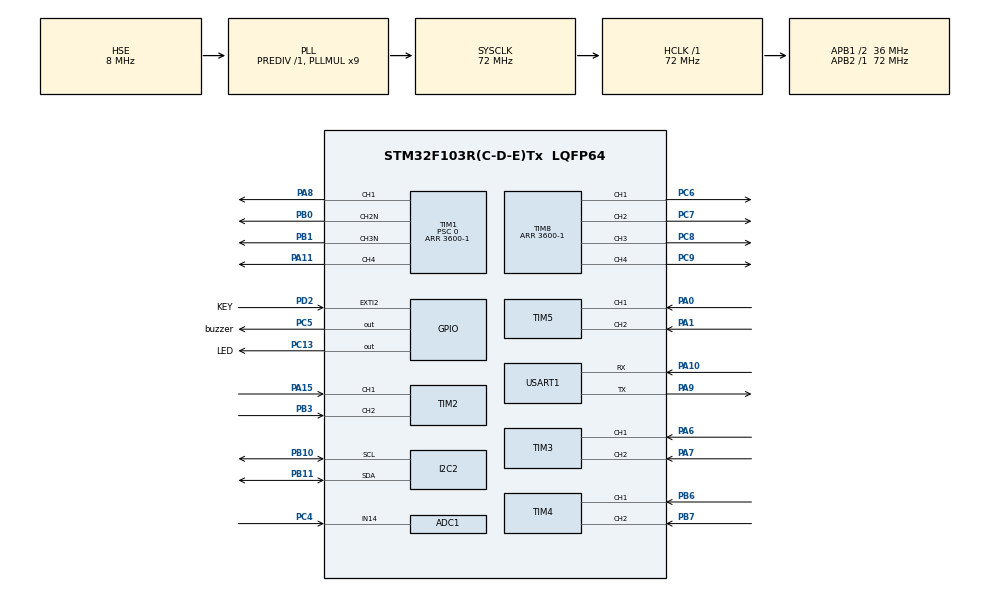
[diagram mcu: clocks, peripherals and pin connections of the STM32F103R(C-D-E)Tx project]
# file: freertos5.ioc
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ADC1.Channel-0\#ChannelRegularConversion=ADC_CHANNEL_14
ADC1.ContinuousConvMode=ENABLE
ADC1.NbrOfConversion=1
ADC1.NbrOfConversionFlag=1
ADC1.Rank-0\#ChannelRegularConversion=1
ADC1.SamplingTime-0\#ChannelRegularConversion=ADC_SAMPLETIME_239CYCLES_5
ADC1.master=1
FREERTOS.Tasks01=defaultTask,24,128,StartDefaultTask,Default,NULL,Dynamic,NULL,NULL
FREERTOS.configUSE_NEWLIB_REENTRANT=1
Mcu.Family=STM32F1
Mcu.Name=STM32F103R(C-D-E)Tx
Mcu.Package=LQFP64
NVIC.EXTI2_IRQn=true\:5\:0\:false\:false\:true\:true\:true\:true\:true
NVIC.PriorityGroup=NVIC_PRIORITYGROUP_4
NVIC.TIM6_IRQn=true\:15\:0\:false\:false\:true\:false\:false\:true\:true
NVIC.TimeBase=TIM6_IRQn
NVIC.TimeBaseIP=TIM6
PA0-WKUP.Signal=S_TIM5_CH1
PA1.Signal=S_TIM5_CH2
PA10.Mode=Asynchronous
PA10.Signal=USART1_RX
PA11.Signal=S_TIM1_CH4
PA13.Mode=Serial_Wire
PA13.Signal=SYS_JTMS-SWDIO
PA14.Mode=Serial_Wire
PA14.Signal=SYS_JTCK-SWCLK
PA15.Signal=S_TIM2_CH1_ETR
PA6.Signal=S_TIM3_CH1
PA7.Signal=S_TIM3_CH2
PA8.Signal=S_TIM1_CH1
PA9.Mode=Asynchronous
PA9.Signal=USART1_TX
PB0.Mode=PWM Generation2 CH2N
PB0.Signal=TIM1_CH2N
PB1.Mode=PWM Generation3 CH3N
PB1.Signal=TIM1_CH3N
PB10.Mode=I2C
PB10.Signal=I2C2_SCL
PB11.Mode=I2C
PB11.Signal=I2C2_SDA
PB3.Signal=S_TIM2_CH2
PB6.Signal=S_TIM4_CH1
PB7.Signal=S_TIM4_CH2
PC13-TAMPER-RTC.GPIO_Label=LED
PC13-TAMPER-RTC.Signal=GPIO_Output
PC4.Signal=ADCx_IN14
PC5.GPIO_Label=buzzer
PC5.GPIO_Speed=GPIO_SPEED_FREQ_LOW
PC5.Signal=GPIO_Output
PC6.Signal=S_TIM8_CH1
PC7.Signal=S_TIM8_CH2
PC8.Signal=S_TIM8_CH3
PC9.Signal=S_TIM8_CH4
PD0-OSC_IN.Mode=HSE-External-Oscillator
PD0-OSC_IN.Signal=RCC_OSC_IN
PD1-OSC_OUT.Mode=HSE-External-Oscillator
PD1-OSC_OUT.Signal=RCC_OSC_OUT
PD2.GPIO_Label=KEY
PD2.GPIO_ModeDefaultEXTI=GPIO_MODE_IT_FALLING
PD2.GPIO_PuPd=GPIO_PULLUP
PD2.Signal=GPXTI2
ProjectManager.HeapSize=0x200
ProjectManager.StackSize=0x400
ProjectManager.TargetToolchain=STM32CubeIDE
RCC.ADCPresc=RCC_ADCPCLK2_DIV6
RCC.AHBFreq_Value=72000000
RCC.APB1CLKDivider=RCC_HCLK_DIV2
RCC.APB1Freq_Value=36000000
RCC.APB1TimFreq_Value=72000000
RCC.APB2Freq_Value=72000000
RCC.APB2TimFreq_Value=72000000
RCC.HCLKFreq_Value=72000000
RCC.PLLMUL=RCC_PLL_MUL9
RCC.PLLSourceVirtual=RCC_PLLSOURCE_HSE
RCC.SYSCLKFreq_VALUE=72000000
RCC.SYSCLKSource=RCC_SYSCLKSOURCE_PLLCLK
RCC.USBFreq_Value=72000000
SH.ADCx_IN14.0=ADC1_IN14,IN14
SH.S_TIM1_CH1.0=TIM1_CH1,PWM Generation1 CH1
SH.S_TIM1_CH4.0=TIM1_CH4,PWM Generation4 CH4
SH.S_TIM2_CH1_ETR.0=TIM2_CH1,Encoder_Interface
SH.S_TIM2_CH2.0=TIM2_CH2,Encoder_Interface
SH.S_TIM3_CH1.0=TIM3_CH1,Encoder_Interface
SH.S_TIM3_CH2.0=TIM3_CH2,Encoder_Interface
SH.S_TIM4_CH1.0=TIM4_CH1,Encoder_Interface
SH.S_TIM4_CH2.0=TIM4_CH2,Encoder_Interface
SH.S_TIM5_CH1.0=TIM5_CH1,Encoder_Interface
SH.S_TIM5_CH2.0=TIM5_CH2,Encoder_Interface
SH.S_TIM8_CH1.0=TIM8_CH1,Output Compare1 CH1
SH.S_TIM8_CH2.0=TIM8_CH2,PWM Generation2 CH2
SH.S_TIM8_CH3.0=TIM8_CH3,PWM Generation3 CH3
SH.S_TIM8_CH4.0=TIM8_CH4,PWM Generation4 CH4
TIM1.AutoReloadPreload=TIM_AUTORELOAD_PRELOAD_ENABLE
TIM1.Channel-PWM\ Generation1\ CH1=TIM_CHANNEL_1
TIM1.Channel-PWM\ Generation2\ CH2N=TIM_CHANNEL_2
TIM1.Channel-PWM\ Generation3\ CH3N=TIM_CHANNEL_3
TIM1.Channel-PWM\ Generation4\ CH4=TIM_CHANNEL_4
TIM1.Period=3600-1
TIM1.Prescaler=0
TIM3.AutoReloadPreload=TIM_AUTORELOAD_PRELOAD_ENABLE
TIM3.EncoderMode=TIM_ENCODERMODE_TI12
TIM3.IC1Filter=0xf
TIM3.IC2Filter=0xf
TIM8.Channel-Output\ Compare1\ CH1=TIM_CHANNEL_1
TIM8.Channel-PWM\ Generation2\ CH2=TIM_CHANNEL_2
TIM8.Channel-PWM\ Generation3\ CH3=TIM_CHANNEL_3
TIM8.Channel-PWM\ Generation4\ CH4=TIM_CHANNEL_4
TIM8.Period=3600-1
USART1.VirtualMode=VM_ASYNC
VP_FREERTOS_VS_CMSIS_V2.Mode=CMSIS_V2
VP_SYS_VS_tim6.Mode=TIM6
VP_TIM1_VS_ClockSourceINT.Mode=Internal
VP_TIM8_VS_ClockSourceINT.Mode=Internal
board=custom

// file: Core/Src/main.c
/* USER CODE BEGIN Header */
/**
  ******************************************************************************
  * @file           : main.c
  * @brief          : Main program body
  ******************************************************************************
  * @attention
  *
  * Copyright (c) 2025 STMicroelectronics.
  * All rights reserved.
  *
  * This software is licensed under terms that can be found in the LICENSE file
  * in the root directory of this software component.
  * If no LICENSE file comes with this software, it is provided AS-IS.
  *
  ******************************************************************************
  */
/* USER CODE END Header */
#include "main.h"
#include "cmsis_os.h"
#include "adc.h"
#include "i2c.h"
#include "tim.h"
#include "usart.h"
#include "gpio.h"

/* USER CODE BEGIN Includes */
#include "freertos_ITF.h"
/* USER CODE END Includes */

void SystemClock_Config(void);
void MX_FREERTOS_Init(void);

int main(void)
{

  /* MCU Configuration--------------------------------------------------------*/

  /* Reset of all peripherals, Initializes the Flash interface and the Systick. */
  HAL_Init();

  /* Configure the system clock */
  SystemClock_Config();

  /* Initialize all configured peripherals */
  MX_GPIO_Init();
  MX_I2C2_Init();
  MX_TIM1_Init();
  MX_TIM8_Init();
  MX_TIM3_Init();
  MX_USART1_UART_Init();
  MX_TIM2_Init();
  MX_TIM4_Init();
  MX_TIM5_Init();
  MX_ADC1_Init();
  /* USER CODE BEGIN 2 */
    Motor_Init();
    ADC_Voltage_Init();
    OLED_Init();
    OLED_Clear();
  /* USER CODE END 2 */

  /* Init scheduler */
  osKernelInitialize();

  /* Call init function for freertos objects (in cmsis_os2.c) */
  MX_FREERTOS_Init();

  /* Start scheduler */
  osKernelStart();

  /* We should never get here as control is now taken by the scheduler */

  /* Infinite loop */
    while (1) {

    }
}

void SystemClock_Config(void)
{
  RCC_OscInitTypeDef RCC_OscInitStruct = {0};
  RCC_ClkInitTypeDef RCC_ClkInitStruct = {0};
  RCC_PeriphCLKInitTypeDef PeriphClkInit = {0};

  /** Initializes the RCC Oscillators according to the specified parameters
  * in the RCC_OscInitTypeDef structure.
  */
  RCC_OscInitStruct.OscillatorType = RCC_OSCILLATORTYPE_HSE;
  RCC_OscInitStruct.HSEState = RCC_HSE_ON;
  RCC_OscInitStruct.HSEPredivValue = RCC_HSE_PREDIV_DIV1;
  RCC_OscInitStruct.HSIState = RCC_HSI_ON;
  RCC_OscInitStruct.PLL.PLLState = RCC_PLL_ON;
  RCC_OscInitStruct.PLL.PLLSource = RCC_PLLSOURCE_HSE;
  RCC_OscInitStruct.PLL.PLLMUL = RCC_PLL_MUL9;
  if (HAL_RCC_OscConfig(&RCC_OscInitStruct) != HAL_OK)
  {
    Error_Handler();
  }

  /** Initializes the CPU, AHB and APB buses clocks
  */
  RCC_ClkInitStruct.ClockType = RCC_CLOCKTYPE_HCLK|RCC_CLOCKTYPE_SYSCLK
                              |RCC_CLOCKTYPE_PCLK1|RCC_CLOCKTYPE_PCLK2;
  RCC_ClkInitStruct.SYSCLKSource = RCC_SYSCLKSOURCE_PLLCLK;
  RCC_ClkInitStruct.AHBCLKDivider = RCC_SYSCLK_DIV1;
  RCC_ClkInitStruct.APB1CLKDivider = RCC_HCLK_DIV2;
  RCC_ClkInitStruct.APB2CLKDivider = RCC_HCLK_DIV1;

  if (HAL_RCC_ClockConfig(&RCC_ClkInitStruct, FLASH_LATENCY_2) != HAL_OK)
  {
    Error_Handler();
  }
  PeriphClkInit.PeriphClockSelection = RCC_PERIPHCLK_ADC;
  PeriphClkInit.AdcClockSelection = RCC_ADCPCLK2_DIV6;
  if (HAL_RCCEx_PeriphCLKConfig(&PeriphClkInit) != HAL_OK)
  {
    Error_Handler();
  }
}

void HAL_TIM_PeriodElapsedCallback(TIM_HandleTypeDef *htim)
{
  if (htim->Instance == TIM6) {
    HAL_IncTick();
  }
}

void Error_Handler(void)
{
    __disable_irq();
    while (1) {
    }
}

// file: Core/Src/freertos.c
/* USER CODE BEGIN Header */
/**
  ******************************************************************************
  * File Name          : freertos.c
  * Description        : Code for freertos applications
  ******************************************************************************
  * @attention
  *
  * Copyright (c) 2025 STMicroelectronics.
  * All rights reserved.
  *
  * This software is licensed under terms that can be found in the LICENSE file
  * in the root directory of this software component.
  * If no LICENSE file comes with this software, it is provided AS-IS.
  *
  ******************************************************************************
  */
/* USER CODE END Header */

#include "FreeRTOS.h"
#include "task.h"
#include "main.h"
#include "cmsis_os.h"

/* USER CODE BEGIN Includes */
#include "freertos_ITF.h"
/* USER CODE END Includes */

/* USER CODE BEGIN Variables */
// 定义队列句柄
QueueHandle_t g_QueueB;
QueueHandle_t g_QueueA;
/* USER CODE END Variables */
/* Definitions for defaultTask */
osThreadId_t defaultTaskHandle;
const osThreadAttr_t defaultTask_attributes = {
        .name = "defaultTask",
        .stack_size = 128 * 4,
        .priority = (osPriority_t) osPriorityNormal,
};

/* USER CODE BEGIN FunctionPrototypes */
void OLED_Queue_Task(void *argument);

/* USER CODE END FunctionPrototypes */

void StartDefaultTask(void *argument);

void MX_FREERTOS_Init(void); /* (MISRA C 2004 rule 8.1) */

void MX_FREERTOS_Init(void) {

    /* Create the thread(s) */
    /* creation of defaultTask */
    defaultTaskHandle = osThreadNew(StartDefaultTask, NULL, &defaultTask_attributes);

    /* USER CODE BEGIN RTOS_THREADS */
    /* add threads, ... */
    xTaskCreate(OLED_Queue_Task, "QueueTask1", 128, NULL, osPriorityNormal, NULL);
    /* USER CODE END RTOS_THREADS */

}

void StartDefaultTask(void *argument) {
    /* USER CODE BEGIN StartDefaultTask */
    /* Infinite loop */
    rtVoltage_oled_Test();
    /* USER CODE END StartDefaultTask */
}

/* USER CODE BEGIN Application */
void OLED_Queue_Task(void *argument) {
    /* 创建队列 */
    g_QueueA = xQueueCreate(10, sizeof(OLEDData));
    /* 定义结构体 */
    OLEDData QueueA_Data_Output;
    while (1) {
        /* 读队列A */
        if (pdPASS == xQueueReceive(g_QueueA, &QueueA_Data_Output, portMAX_DELAY)) {
            /* 显示队列A数据 */
            OLED_ShowNum(0, 0, QueueA_Data_Output.speed, 1, 16);
            OLED_ShowStr(16, 0, QueueA_Data_Output.messages, 16);
            OLED_ShowNum(0, 2, QueueA_Data_Output.cnt_value, 3, 16);
        }
    }
}
/* USER CODE END Application */
